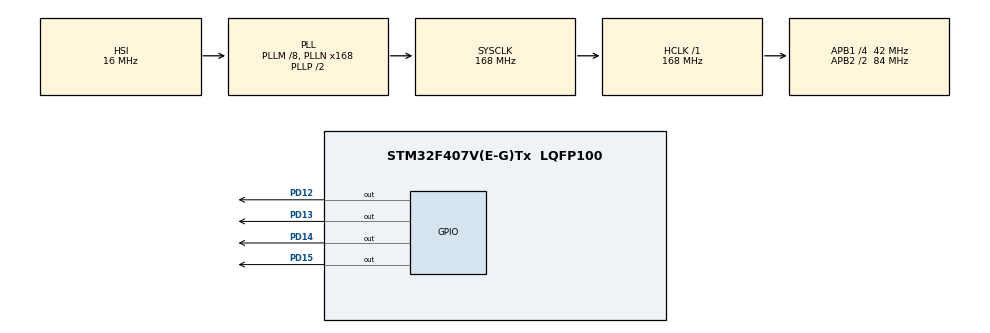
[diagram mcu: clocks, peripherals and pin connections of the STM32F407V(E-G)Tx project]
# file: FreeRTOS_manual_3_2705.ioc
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Mcu.Family=STM32F4
Mcu.Name=STM32F407V(E-G)Tx
Mcu.Package=LQFP100
NVIC.PriorityGroup=NVIC_PRIORITYGROUP_4
NVIC.TIM5_IRQn=true\:15\:0\:false\:false\:true\:false\:true\:true
NVIC.TimeBase=TIM5_IRQn
NVIC.TimeBaseIP=TIM5
PD12.Signal=GPIO_Output
PD13.Signal=GPIO_Output
PD14.Signal=GPIO_Output
PD15.Signal=GPIO_Output
ProjectManager.HeapSize=0x200
ProjectManager.StackSize=0x400
ProjectManager.TargetToolchain=STM32CubeIDE
RCC.48MHZClocksFreq_Value=84000000
RCC.AHBFreq_Value=168000000
RCC.APB1CLKDivider=RCC_HCLK_DIV4
RCC.APB1Freq_Value=42000000
RCC.APB1TimFreq_Value=84000000
RCC.APB2CLKDivider=RCC_HCLK_DIV2
RCC.APB2Freq_Value=84000000
RCC.APB2TimFreq_Value=168000000
RCC.CortexFreq_Value=168000000
RCC.HCLKFreq_Value=168000000
RCC.HSE_VALUE=25000000
RCC.HSI_VALUE=16000000
RCC.LSE_VALUE=32768
RCC.PLLM=8
RCC.PLLN=168
RCC.SYSCLKFreq_VALUE=168000000
RCC.SYSCLKSource=RCC_SYSCLKSOURCE_PLLCLK
RCC.VCOOutputFreq_Value=336000000
VP_SYS_VS_tim5.Mode=TIM5
board=custom

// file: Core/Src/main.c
/* USER CODE BEGIN Header */
/**
  ******************************************************************************
  * @file           : main.c
  * @brief          : Main program body
  ******************************************************************************
  * @attention
  *
  * Copyright (c) 2023 STMicroelectronics.
  * All rights reserved.
  *
  * This software is licensed under terms that can be found in the LICENSE file
  * in the root directory of this software component.
  * If no LICENSE file comes with this software, it is provided AS-IS.
  *
  ******************************************************************************
  */
/* USER CODE END Header */
#include "main.h"

/* USER CODE BEGIN Includes */
#include "FreeRTOS.h"
//#include "stdio.h"
#include "task.h"
//#include "timers.h"
//#include "semphr.h
//#include "string.h"
//#include "queue.h"
#define DWT_CYCNT_EN ((volatile uint32_t *)0xE0001000)
//#include "cmsis_os.h"
/* USER CODE END Includes */

/* USER CODE BEGIN PV */
//TimerHandle_t auto_reload;
//QueueHandle_t myque1,myque2,myque3;
/* USER CODE END PV */

void SystemClock_Config(void);
static void MX_GPIO_Init(void);
/* USER CODE BEGIN PFP */

void task1(void *ptr)
{
	//uint8_t data1=1;
	for(;;){
		//xQueueSend(myque1,&data1,portMAX_DELAY);
		HAL_GPIO_TogglePin(GPIOD, GPIO_PIN_12);
		vTaskDelay(100);
	}
}
void task2(void *ptr)
{
	//uint8_t data2;
	for(;;){
		//xQueueReceive(myque1, &data2, portMAX_DELAY);
		//xQueueSend(myque2,&data2,portMAX_DELAY);
		HAL_GPIO_TogglePin(GPIOD, GPIO_PIN_13);
		vTaskDelay(100);
	}
}
void task3(void *ptr)
{
	//uint8_t data3;
	for(;;){
		//xQueueReceive(myque2, &data3, portMAX_DELAY);
		//xQueueSend(myque3,&data3,portMAX_DELAY);
		HAL_GPIO_TogglePin(GPIOD, GPIO_PIN_14);
		vTaskDelay(100);
	}
}
void task4(void *ptr)
{
	//uint8_t data4;
	//xQueueReceive(myque3, &data4, portMAX_DELAY);
	for(;;){
		HAL_GPIO_TogglePin(GPIOD, GPIO_PIN_15);
		vTaskDelay(100);
			//vTaskDelay(200);
	}
}

/*static void AutoReloadTimerCallback(TimerHandle_t auto_reload)
{
	TickType_t xTimeNow;
	xTimeNow = xTaskGetTickCount();
	SEGGER_SYSVIEW_PrintfTarget("Auto reload timer callback executing %d",xTimeNow );
	HAL_GPIO_TogglePin(GPIOD, GPIO_PIN_14 | GPIO_PIN_15);
}*/

//IDLE TASK CALLBACK
 /*void vApplicationIdleHook()
{
	//char str[20];
	//sprintf(str,"value :  %ld",val);
	//SEGGER_SYSVIEW_PrintfTarget(" %s",str);
}*/

/* USER CODE END PFP */

int main(void)
{

  /* MCU Configuration--------------------------------------------------------*/

  /* Reset of all peripherals, Initializes the Flash interface and the Systick. */
   HAL_Init();

  /* Configure the system clock */
  SystemClock_Config();

  /* Initialize all configured peripherals */
  MX_GPIO_Init();
  /* USER CODE BEGIN 2 */

  *DWT_CYCNT_EN = *DWT_CYCNT_EN | (1 << 0);

  SEGGER_SYSVIEW_Conf();
  SEGGER_SYSVIEW_Start();
  //SEGGER_UART_init(500000);

  //auto_reload = xTimerCreate( "AutoReload",pdMS_TO_TICKS(15), pdTRUE, 0, AutoReloadTimerCallback);
  //xTimerStart(auto_reload, 0 );
   //myque1=xQueueCreate(1,1);
  // myque2=xQueueCreate(1,1);
  // myque3=xQueueCreate(1,1);

  xTaskCreate(task1, "task1", 200, NULL, 5, NULL);
  xTaskCreate(task2, "task2", 200, NULL, 2, NULL);
  xTaskCreate(task3, "task3", 200, NULL, 3, NULL);
  xTaskCreate(task4, "task4", 200, NULL, 4, NULL);

  vTaskStartScheduler();   /* ---Starting scheduler*/

  /* USER CODE END 2 */

  /* Infinite loop */
  while (1)
  {

  }
}

void SystemClock_Config(void)
{
  RCC_OscInitTypeDef RCC_OscInitStruct = {0};
  RCC_ClkInitTypeDef RCC_ClkInitStruct = {0};

  /** Configure the main internal regulator output voltage
  */
  __HAL_RCC_PWR_CLK_ENABLE();
  __HAL_PWR_VOLTAGESCALING_CONFIG(PWR_REGULATOR_VOLTAGE_SCALE1);

  /** Initializes the RCC Oscillators according to the specified parameters
  * in the RCC_OscInitTypeDef structure.
  */
  RCC_OscInitStruct.OscillatorType = RCC_OSCILLATORTYPE_HSI;
  RCC_OscInitStruct.HSIState = RCC_HSI_ON;
  RCC_OscInitStruct.HSICalibrationValue = RCC_HSICALIBRATION_DEFAULT;
  RCC_OscInitStruct.PLL.PLLState = RCC_PLL_ON;
  RCC_OscInitStruct.PLL.PLLSource = RCC_PLLSOURCE_HSI;
  RCC_OscInitStruct.PLL.PLLM = 8;
  RCC_OscInitStruct.PLL.PLLN = 168;
  RCC_OscInitStruct.PLL.PLLP = RCC_PLLP_DIV2;
  RCC_OscInitStruct.PLL.PLLQ = 4;
  if (HAL_RCC_OscConfig(&RCC_OscInitStruct) != HAL_OK)
  {
    Error_Handler();
  }

  /** Initializes the CPU, AHB and APB buses clocks
  */
  RCC_ClkInitStruct.ClockType = RCC_CLOCKTYPE_HCLK|RCC_CLOCKTYPE_SYSCLK
                              |RCC_CLOCKTYPE_PCLK1|RCC_CLOCKTYPE_PCLK2;
  RCC_ClkInitStruct.SYSCLKSource = RCC_SYSCLKSOURCE_PLLCLK;
  RCC_ClkInitStruct.AHBCLKDivider = RCC_SYSCLK_DIV1;
  RCC_ClkInitStruct.APB1CLKDivider = RCC_HCLK_DIV4;
  RCC_ClkInitStruct.APB2CLKDivider = RCC_HCLK_DIV2;

  if (HAL_RCC_ClockConfig(&RCC_ClkInitStruct, FLASH_LATENCY_5) != HAL_OK)
  {
    Error_Handler();
  }
}

static void MX_GPIO_Init(void)
{
  GPIO_InitTypeDef GPIO_InitStruct = {0};

  /* GPIO Ports Clock Enable */
  __HAL_RCC_GPIOD_CLK_ENABLE();

  /*Configure GPIO pin Output Level */
  HAL_GPIO_WritePin(GPIOD, GPIO_PIN_12|GPIO_PIN_13|GPIO_PIN_14|GPIO_PIN_15, GPIO_PIN_RESET);

  /*Configure GPIO pins : PD12 PD13 PD14 PD15 */
  GPIO_InitStruct.Pin = GPIO_PIN_12|GPIO_PIN_13|GPIO_PIN_14|GPIO_PIN_15;
  GPIO_InitStruct.Mode = GPIO_MODE_OUTPUT_PP;
  GPIO_InitStruct.Pull = GPIO_NOPULL;
  GPIO_InitStruct.Speed = GPIO_SPEED_FREQ_LOW;
  HAL_GPIO_Init(GPIOD, &GPIO_InitStruct);

}

/* USER CODE BEGIN 4 */

/*void HAL_GPIO_EXTI_Callback(uint16_t GPIO_Pin)
{
	BaseType_t xHigherPriorityTaskWoken;
	if(GPIO_Pin == GPIO_PIN_0){
		//xTaskNotifyGive(con);
		vTaskNotifyGiveFromISR( con, &xHigherPriorityTaskWoken );
		portYIELD_FROM_ISR( xHigherPriorityTaskWoken );
	}

}*/

/* USER CODE END 4 */

void HAL_TIM_PeriodElapsedCallback(TIM_HandleTypeDef *htim)
{
  if (htim->Instance == TIM5) {
    HAL_IncTick();
  }
}

void Error_Handler(void)
{
  __disable_irq();
  while (1)
  {
  }
}
